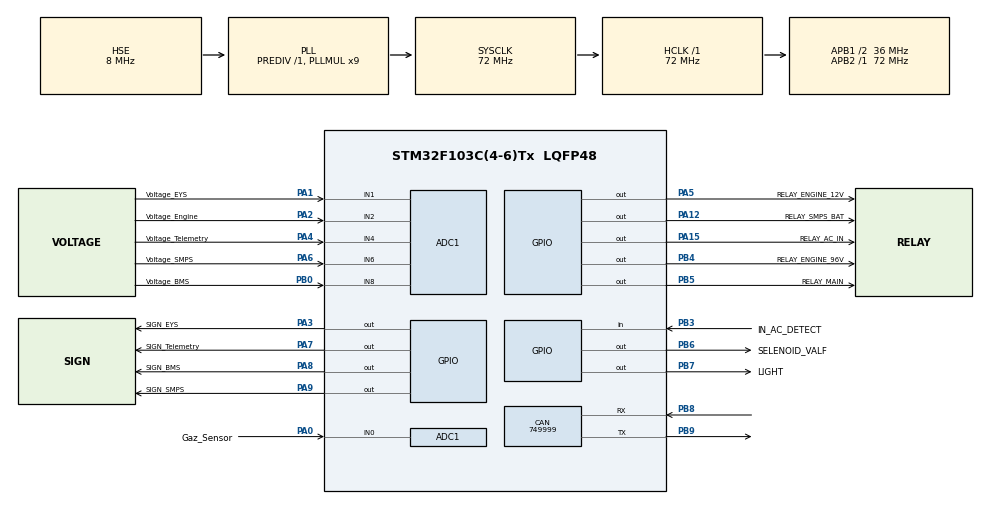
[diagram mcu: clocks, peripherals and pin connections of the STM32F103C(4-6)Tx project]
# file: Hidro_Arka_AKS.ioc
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ADC1.Channel-0\#ChannelRegularConversion=ADC_CHANNEL_0
ADC1.Channel-1\#ChannelRegularConversion=ADC_CHANNEL_1
ADC1.Channel-2\#ChannelRegularConversion=ADC_CHANNEL_2
ADC1.Channel-3\#ChannelRegularConversion=ADC_CHANNEL_4
ADC1.Channel-4\#ChannelRegularConversion=ADC_CHANNEL_6
ADC1.Channel-5\#ChannelRegularConversion=ADC_CHANNEL_8
ADC1.ContinuousConvMode=ENABLE
ADC1.NbrOfConversion=6
ADC1.NbrOfConversionFlag=1
ADC1.Rank-0\#ChannelRegularConversion=1
ADC1.Rank-1\#ChannelRegularConversion=2
ADC1.Rank-2\#ChannelRegularConversion=3
ADC1.Rank-3\#ChannelRegularConversion=4
ADC1.Rank-4\#ChannelRegularConversion=5
ADC1.Rank-5\#ChannelRegularConversion=6
ADC1.SamplingTime-0\#ChannelRegularConversion=ADC_SAMPLETIME_239CYCLES_5
ADC1.SamplingTime-1\#ChannelRegularConversion=ADC_SAMPLETIME_239CYCLES_5
ADC1.SamplingTime-2\#ChannelRegularConversion=ADC_SAMPLETIME_239CYCLES_5
ADC1.SamplingTime-3\#ChannelRegularConversion=ADC_SAMPLETIME_239CYCLES_5
ADC1.SamplingTime-4\#ChannelRegularConversion=ADC_SAMPLETIME_239CYCLES_5
ADC1.SamplingTime-5\#ChannelRegularConversion=ADC_SAMPLETIME_239CYCLES_5
ADC1.master=1
CAN.CalculateBaudRate=749999
CAN.CalculateTimeBit=1333
CAN.CalculateTimeQuantum=444.44444444444446
Dma.ADC1.0.Direction=DMA_PERIPH_TO_MEMORY
Dma.ADC1.0.Instance=DMA1_Channel1
Dma.ADC1.0.MemDataAlignment=DMA_MDATAALIGN_WORD
Dma.ADC1.0.MemInc=DMA_MINC_ENABLE
Dma.ADC1.0.Mode=DMA_CIRCULAR
Dma.ADC1.0.PeriphDataAlignment=DMA_PDATAALIGN_WORD
Dma.ADC1.0.PeriphInc=DMA_PINC_DISABLE
Dma.ADC1.0.Priority=DMA_PRIORITY_VERY_HIGH
Dma.Request0=ADC1
Mcu.Family=STM32F1
Mcu.Name=STM32F103C(4-6)Tx
Mcu.Package=LQFP48
NVIC.ADC1_2_IRQn=true\:0\:0\:false\:false\:true\:true\:true\:true
NVIC.DMA1_Channel1_IRQn=true\:0\:0\:false\:false\:true\:false\:true\:true
NVIC.PriorityGroup=NVIC_PRIORITYGROUP_4
NVIC.USB_LP_CAN1_RX0_IRQn=true\:0\:0\:false\:false\:true\:true\:true\:true
PA0-WKUP.GPIO_Label=Gaz_Sensor
PA0-WKUP.Signal=ADCx_IN0
PA1.GPIO_Label=Voltage_EYS
PA1.Signal=ADCx_IN1
PA12.GPIO_Label=RELAY_SMPS_BAT
PA12.Signal=GPIO_Output
PA13.Mode=Serial_Wire
PA13.Signal=SYS_JTMS-SWDIO
PA14.Mode=Serial_Wire
PA14.Signal=SYS_JTCK-SWCLK
PA15.GPIO_Label=RELAY_AC_IN
PA15.Signal=GPIO_Output
PA2.GPIO_Label=Voltage_Engine
PA2.Signal=ADCx_IN2
PA3.GPIO_Label=SIGN_EYS
PA3.Signal=GPIO_Output
PA4.GPIO_Label=Voltage_Telemetry
PA4.Signal=ADCx_IN4
PA5.GPIO_Label=RELAY_ENGINE_12V
PA5.Signal=GPIO_Output
PA6.GPIO_Label=Voltage_SMPS
PA6.Signal=ADCx_IN6
PA7.GPIO_Label=SIGN_Telemetry
PA7.Signal=GPIO_Output
PA8.GPIO_Label=SIGN_BMS
PA8.Signal=GPIO_Output
PA9.GPIO_Label=SIGN_SMPS
PA9.Signal=GPIO_Output
PB0.GPIO_Label=Voltage_BMS
PB0.Signal=ADCx_IN8
PB3.GPIO_Label=IN_AC_DETECT
PB3.Signal=GPIO_Input
PB4.GPIO_Label=RELAY_ENGINE_96V
PB4.Signal=GPIO_Output
PB5.GPIO_Label=RELAY_MAIN
PB5.Signal=GPIO_Output
PB6.GPIO_Label=SELENOID_VALF
PB6.Signal=GPIO_Output
PB7.GPIO_Label=LIGHT
PB7.Signal=GPIO_Output
PB8.Mode=CAN_Activate
PB8.Signal=CAN_RX
PB9.Mode=CAN_Activate
PB9.Signal=CAN_TX
PD0-OSC_IN.Mode=HSE-External-Oscillator
PD0-OSC_IN.Signal=RCC_OSC_IN
PD1-OSC_OUT.Mode=HSE-External-Oscillator
PD1-OSC_OUT.Signal=RCC_OSC_OUT
ProjectManager.HeapSize=0x200
ProjectManager.StackSize=0x400
ProjectManager.TargetToolchain=STM32CubeIDE
RCC.ADCPresc=RCC_ADCPCLK2_DIV6
RCC.AHBFreq_Value=72000000
RCC.APB1CLKDivider=RCC_HCLK_DIV2
RCC.APB1Freq_Value=36000000
RCC.APB1TimFreq_Value=72000000
RCC.APB2Freq_Value=72000000
RCC.APB2TimFreq_Value=72000000
RCC.HCLKFreq_Value=72000000
RCC.PLLMUL=RCC_PLL_MUL9
RCC.PLLSourceVirtual=RCC_PLLSOURCE_HSE
RCC.SYSCLKFreq_VALUE=72000000
RCC.SYSCLKSource=RCC_SYSCLKSOURCE_PLLCLK
RCC.USBFreq_Value=72000000
SH.ADCx_IN0.0=ADC1_IN0,IN0
SH.ADCx_IN1.0=ADC1_IN1,IN1
SH.ADCx_IN2.0=ADC1_IN2,IN2
SH.ADCx_IN4.0=ADC1_IN4,IN4
SH.ADCx_IN6.0=ADC1_IN6,IN6
SH.ADCx_IN8.0=ADC1_IN8,IN8
board=custom

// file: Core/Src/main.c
/* USER CODE BEGIN Header */
/**
  ******************************************************************************
  * @file           : main.c
  * @brief          : Main program body
  ******************************************************************************
  * @attention
  *
  * Copyright (c) 2023 STMicroelectronics.
  * All rights reserved.
  *
  * This software is licensed under terms that can be found in the LICENSE file
  * in the root directory of this software component.
  * If no LICENSE file comes with this software, it is provided AS-IS.
  *
  ******************************************************************************
  */
/* USER CODE END Header */
#include "main.h"

/* USER CODE BEGIN Includes */
#include "stdbool.h"
/* USER CODE END Includes */

/* USER CODE BEGIN PD */
uint32_t adcbuffer[6];

uint32_t Eys_Voltage;
uint32_t Aks_Voltage;
uint32_t Smps_Voltage;
uint32_t Bms_Voltage;
uint32_t Engine_Driver_Voltage;
uint32_t Gaz_Sensor;

/* USER CODE END PD */

ADC_HandleTypeDef hadc1;
DMA_HandleTypeDef hdma_adc1;

CAN_HandleTypeDef hcan;

void SystemClock_Config(void);
static void MX_GPIO_Init(void);
static void MX_DMA_Init(void);
static void MX_CAN_Init(void);
static void MX_ADC1_Init(void);
/* USER CODE BEGIN PFP */

void HAL_ADC_ConvCpltCallback(ADC_HandleTypeDef* hadc)
{
   if(hadc->Instance == ADC1)
   {
	   Eys_Voltage = adcbuffer[1];
	   Aks_Voltage = adcbuffer[3];
	   Smps_Voltage = adcbuffer[4];
	   Bms_Voltage = adcbuffer[5];
	   Engine_Driver_Voltage = adcbuffer[2];
	   Gaz_Sensor = adcbuffer[0];
   }

}

/* USER CODE END PFP */

/* USER CODE BEGIN 0 */

CAN_TxHeaderTypeDef TxTransmitter;   //can adı
uint8_t voltage_result[5];   //can içerisindeki data boyutu
uint32_t TxMailBox;       //can kutusu

uint32_t adc_result[10];   //adc değerleri için kutu,
									//sensor değerleri içinde kutu açılacak

CAN_RxHeaderTypeDef Receiver;
uint8_t Receiver_data[8];
uint32_t sender_info[5];

/* USER CODE END 0 */

int main(void)
{

  /* MCU Configuration--------------------------------------------------------*/

  /* Reset of all peripherals, Initializes the Flash interface and the Systick. */
  HAL_Init();

  /* Configure the system clock */
  SystemClock_Config();

  /* Initialize all configured peripherals */
  MX_GPIO_Init();
  MX_DMA_Init();
  MX_CAN_Init();
  MX_ADC1_Init();
  /* USER CODE BEGIN 2 */
  HAL_ADC_Start_DMA(&hadc1,adcbuffer,6);
  HAL_CAN_Start(&hcan);

  //araç açılışta sürüş modunda olacak.
  HAL_GPIO_WritePin(RELAY_MAIN_GPIO_Port, RELAY_MAIN_Pin, GPIO_PIN_RESET);

  /*
   Sürüş moduna geçmek için yapılması gerekenler:
   BMS,Motor Sürücü,Telemetri açılacak. SMPS kapanacak.
   Ana kontaktör kontrolünde P channel kullanılır. Lojik 0 verilirse, mosfet akım geçirir. Tesisatta kontaktöre 12V gider ve, kontaktör akım geçirir.
   SSR röle ve SMPS Batarya kontaktörünü kapatmak için Lojik 1 verilir.
   Motor sürücü kontaktöründen akım geçmesi için Lojik 0 verilmeli.
  */
  HAL_GPIO_WritePin(SIGN_BMS_GPIO_Port,SIGN_BMS_Pin, GPIO_PIN_SET);//Lojik 1 kapanır, Lojik 0 açılır
  HAL_GPIO_WritePin(RELAY_ENGINE_12V_GPIO_Port,RELAY_ENGINE_12V_Pin, GPIO_PIN_SET);//Lojik 1 kapanır, Lojik 0 açılır
  HAL_GPIO_WritePin(SIGN_Telemetry_GPIO_Port,SIGN_Telemetry_Pin, GPIO_PIN_SET);//Lojik 1 kapanır, Lojik 0 açılır---
  HAL_GPIO_WritePin(SIGN_EYS_GPIO_Port,SIGN_EYS_Pin,GPIO_PIN_SET);
  HAL_GPIO_WritePin(SIGN_SMPS_GPIO_Port,SIGN_SMPS_Pin, GPIO_PIN_SET);//Lojik 1 açılır, Lojik 0 kapanır
  HAL_GPIO_WritePin(RELAY_MAIN_GPIO_Port,RELAY_MAIN_Pin, GPIO_PIN_RESET);//Lojik 1 kapanır, Lojik 0 açılır
  HAL_GPIO_WritePin(RELAY_AC_IN_GPIO_Port,RELAY_AC_IN_Pin, GPIO_PIN_RESET);//Lojik 1 kapanır, Lojik 0 açılır
  HAL_GPIO_WritePin(RELAY_SMPS_BAT_GPIO_Port,RELAY_SMPS_BAT_Pin, GPIO_PIN_RESET);//Lojik 1 kapanır, Lojik 0 açılır
  HAL_Delay(1000);
  HAL_GPIO_WritePin(RELAY_ENGINE_96V_GPIO_Port,RELAY_ENGINE_96V_Pin, GPIO_PIN_SET);//Lojik 1 kapanır, Lojik 0 açılır

  TxTransmitter.StdId = 0x023;
  TxTransmitter.DLC = 8;
  TxTransmitter.IDE = CAN_ID_STD;

  /* USER CODE END 2 */
  /* Infinite loop */
  /* USER CODE BEGIN WHILE */
  while (1)
  {

	  /*
	   Eys_Voltage = adcbuffer[1];
	   Aks_Voltage = adcbuffer[3];
	   Smps_Voltage = adcbuffer[4];
	   Bms_Voltage = adcbuffer[5];
	   Engine_Driver_Voltage = adcbuffer[2];
	   Gaz_Sensor = adcbuffer[0];

	   */
    /* USER CODE END WHILE */
	  HAL_ADC_ConvCpltCallback(&hadc1);

	  /*
	  if(HAL_GPIO_ReadPin(IN_AC_DETECT_GPIO_Port,IN_AC_DETECT_Pin) == GPIO_PIN_RESET){
		  //BURASI ARAÇ sürüş MODU DURUMU

		  HAL_GPIO_WritePin(RELAY_SMPS_BAT_GPIO_Port,RELAY_SMPS_BAT_Pin, GPIO_PIN_RESET);//Lojik 1 kapanır, Lojik 0 açılır
		  HAL_Delay(20);
		  HAL_GPIO_WritePin(RELAY_AC_IN_GPIO_Port,RELAY_AC_IN_Pin, GPIO_PIN_RESET);//Lojik 1 kapanır, Lojik 0 açılır
		  HAL_Delay(1000);
		  HAL_GPIO_WritePin(SIGN_SMPS_GPIO_Port,SIGN_SMPS_Pin, GPIO_PIN_SET);//Lojik 1 açılır, Lojik 0 kapanır
		  HAL_Delay(1000);
		  HAL_GPIO_WritePin(RELAY_ENGINE_12V_GPIO_Port,RELAY_ENGINE_12V_Pin, GPIO_PIN_SET);//Lojik 1 kapanır, Lojik 0 açılır
		  HAL_Delay(1000);
		  HAL_GPIO_WritePin(RELAY_ENGINE_96V_GPIO_Port,RELAY_ENGINE_96V_Pin, GPIO_PIN_SET);//Lojik 1 akım geçirmez, Lojik 0 akım geçirir
  		  HAL_Delay(20);
		  HAL_GPIO_WritePin(RELAY_MAIN_GPIO_Port, RELAY_MAIN_Pin, GPIO_PIN_RESET);
	  	  }

	  else{
		  //burası şarj modu

		  HAL_GPIO_WritePin(RELAY_ENGINE_12V_GPIO_Port,RELAY_ENGINE_12V_Pin, GPIO_PIN_RESET);//Lojik 1 kapanır, Lojik 0 açılır
		  HAL_GPIO_WritePin(RELAY_ENGINE_96V_GPIO_Port,RELAY_ENGINE_96V_Pin, GPIO_PIN_RESET);//Lojik 1 akım geçirmez, Lojik 0 akım geçirir
		  HAL_Delay(1000);
		  HAL_GPIO_WritePin(RELAY_SMPS_BAT_GPIO_Port,RELAY_SMPS_BAT_Pin, GPIO_PIN_SET);//Lojik 1 kapanır, Lojik 0 açılır
		  HAL_Delay(1000);
		  HAL_GPIO_WritePin(RELAY_AC_IN_GPIO_Port,RELAY_AC_IN_Pin, GPIO_PIN_SET);//Lojik 1 kapanır, Lojik 0 açılır
		  HAL_Delay(1000);
		  HAL_GPIO_WritePin(SIGN_SMPS_GPIO_Port,SIGN_SMPS_Pin, GPIO_PIN_RESET);//Lojik 1 açılır, Lojik 0 kapanır

	  }

	  HAL_GPIO_WritePin(RELAY_MAIN_GPIO_Port, RELAY_MAIN_Pin, GPIO_PIN_RESET);
	  */

	  static bool prev_ac_status = false;
	  	  const bool ac_status = HAL_GPIO_ReadPin(IN_AC_DETECT_GPIO_Port,IN_AC_DETECT_Pin) == GPIO_PIN_SET;

	  	  if (ac_status != prev_ac_status) {  //eğer önceki durum ve şimdiki durum farklı olursa işleme girer
	  		                                  //işlem seçeneği ise mevcut ac değerinin ne olduğuna göre yapılır
	  		  prev_ac_status = ac_status;
	  		  if(ac_status){
				  //şarj modu
	  			  HAL_GPIO_WritePin(RELAY_ENGINE_96V_GPIO_Port,RELAY_ENGINE_96V_Pin, GPIO_PIN_RESET);//Lojik 1 akım geçirmez, Lojik 0 akım geçirir
	  			  HAL_Delay(500);
	  			  HAL_GPIO_WritePin(SIGN_EYS_GPIO_Port,SIGN_EYS_Pin,GPIO_PIN_RESET);
	  			  HAL_Delay(500);
	  			  HAL_GPIO_WritePin(RELAY_ENGINE_12V_GPIO_Port,RELAY_ENGINE_12V_Pin, GPIO_PIN_RESET);//Lojik 1 kapanır, Lojik 0 açılır
		  	  	  HAL_Delay(1000);
		  	  	  HAL_GPIO_WritePin(RELAY_SMPS_BAT_GPIO_Port,RELAY_SMPS_BAT_Pin, GPIO_PIN_SET);//Lojik 1 kapanır, Lojik 0 açılır
		  	  	  HAL_Delay(1000);
		  	  	  HAL_GPIO_WritePin(RELAY_AC_IN_GPIO_Port,RELAY_AC_IN_Pin, GPIO_PIN_SET);//Lojik 1 kapanır, Lojik 0 açılır
		  	  	  HAL_Delay(1000);
		  	  	  HAL_GPIO_WritePin(SIGN_SMPS_GPIO_Port,SIGN_SMPS_Pin, GPIO_PIN_RESET);//Lojik 1 açılır, Lojik 0 kapanır
	  			  }

	  		  else{
	  		  	  //sürüş modu
	  			  HAL_GPIO_WritePin(RELAY_SMPS_BAT_GPIO_Port,RELAY_SMPS_BAT_Pin, GPIO_PIN_RESET);//Lojik 1 kapanır, Lojik 0 açılır
		  	  	  HAL_Delay(20);
		  	  	  HAL_GPIO_WritePin(RELAY_AC_IN_GPIO_Port,RELAY_AC_IN_Pin, GPIO_PIN_RESET);//Lojik 1 kapanır, Lojik 0 açılır
		  	  	  HAL_Delay(1000);
		  	  	  HAL_GPIO_WritePin(SIGN_SMPS_GPIO_Port,SIGN_SMPS_Pin, GPIO_PIN_SET);//Lojik 1 açılır, Lojik 0 kapanır
		  	  	  HAL_Delay(1000);
		  	  	  HAL_GPIO_WritePin(RELAY_ENGINE_12V_GPIO_Port,RELAY_ENGINE_12V_Pin, GPIO_PIN_SET);//Lojik 1 kapanır, Lojik 0 açılır
		  	  	  HAL_Delay(1000);
		  	  	  HAL_GPIO_WritePin(SIGN_EYS_GPIO_Port,SIGN_EYS_Pin,GPIO_PIN_SET);
		  	  	  HAL_Delay(1000);
		  	  	  HAL_GPIO_WritePin(RELAY_ENGINE_96V_GPIO_Port,RELAY_ENGINE_96V_Pin, GPIO_PIN_SET);//Lojik 1 akım geçirmez, Lojik 0 akım geçirir
  		  	  	  HAL_Delay(20);
		  	  	  HAL_GPIO_WritePin(RELAY_MAIN_GPIO_Port, RELAY_MAIN_Pin, GPIO_PIN_RESET);

	  		  }
	  	  }

	  voltage_result[0] = Eys_Voltage;
	  voltage_result[1] =Aks_Voltage;
	  voltage_result[2] =Smps_Voltage;
	  voltage_result[3] =Bms_Voltage;
	  voltage_result[4] =Engine_Driver_Voltage;

	  voltage_result[5] = 31;
	  voltage_result[6] = 52;
	  voltage_result[7] = 69;

	  HAL_Delay(50);

	  HAL_CAN_AddTxMessage(&hcan, &TxTransmitter, voltage_result , &TxMailBox);

	  HAL_CAN_GetRxMessage(&hcan, CAN_RX_FIFO0, &Receiver, Receiver_data);

	  sender_info[0] = Receiver.StdId;
	  sender_info[1] = Receiver.ExtId;
	  sender_info[2] = Receiver.IDE;
	  sender_info[3] = Receiver.RTR;
      sender_info[4] = Receiver.DLC;

      /*
      if(Receiver_data[0] == 54)
      HAL_GPIO_WritePin(RELAY_MAIN_GPIO_Port, RELAY_MAIN_Pin, SET);
      else
          HAL_GPIO_WritePin(RELAY_MAIN_GPIO_Port, RELAY_MAIN_Pin, RESET);
	  */

      /*
      if(Receiver_data[1] > 55)
      HAL_GPIO_WritePin(SELENOID_VALF_GPIO_Port, SELENOID_VALF_Pin, SET);
      else
          HAL_GPIO_WritePin(SELENOID_VALF_GPIO_Port, SELENOID_VALF_Pin, RESET);

      if(Receiver_data[2] == 65)
    		 HAL_GPIO_WritePin(LIGHT_GPIO_Port, LIGHT_Pin, SET);
      else
		 HAL_GPIO_WritePin(LIGHT_GPIO_Port, LIGHT_Pin, RESET);

	*/

/*
	  if(Eys_Voltage <10)          //eğer voltaj yoksa led yaktık
		  HAL_GPIO_WritePin(LIGHT_GPIO_Port, LIGHT_Pin, GPIO_PIN_SET);
	  if(Aks_Voltage <10)
	  		  HAL_GPIO_WritePin(SELENOID_VALF_GPIO_Port, SELENOID_VALF_Pin, GPIO_PIN_SET);

	  if(Smps_Voltage >3500){
	  		  HAL_GPIO_WritePin(RELAY_MAIN_GPIO_Port, RELAY_MAIN_Pin, GPIO_PIN_SET);
	  		HAL_Delay(1000);
	  }
	  */
	  //read sürücü 12v

  }
}

void SystemClock_Config(void)
{
  RCC_OscInitTypeDef RCC_OscInitStruct = {0};
  RCC_ClkInitTypeDef RCC_ClkInitStruct = {0};
  RCC_PeriphCLKInitTypeDef PeriphClkInit = {0};

  /** Initializes the RCC Oscillators according to the specified parameters
  * in the RCC_OscInitTypeDef structure.
  */
  RCC_OscInitStruct.OscillatorType = RCC_OSCILLATORTYPE_HSE;
  RCC_OscInitStruct.HSEState = RCC_HSE_ON;
  RCC_OscInitStruct.HSEPredivValue = RCC_HSE_PREDIV_DIV1;
  RCC_OscInitStruct.HSIState = RCC_HSI_ON;
  RCC_OscInitStruct.PLL.PLLState = RCC_PLL_ON;
  RCC_OscInitStruct.PLL.PLLSource = RCC_PLLSOURCE_HSE;
  RCC_OscInitStruct.PLL.PLLMUL = RCC_PLL_MUL9;
  if (HAL_RCC_OscConfig(&RCC_OscInitStruct) != HAL_OK)
  {
    Error_Handler();
  }

  /** Initializes the CPU, AHB and APB buses clocks
  */
  RCC_ClkInitStruct.ClockType = RCC_CLOCKTYPE_HCLK|RCC_CLOCKTYPE_SYSCLK
                              |RCC_CLOCKTYPE_PCLK1|RCC_CLOCKTYPE_PCLK2;
  RCC_ClkInitStruct.SYSCLKSource = RCC_SYSCLKSOURCE_PLLCLK;
  RCC_ClkInitStruct.AHBCLKDivider = RCC_SYSCLK_DIV1;
  RCC_ClkInitStruct.APB1CLKDivider = RCC_HCLK_DIV2;
  RCC_ClkInitStruct.APB2CLKDivider = RCC_HCLK_DIV1;

  if (HAL_RCC_ClockConfig(&RCC_ClkInitStruct, FLASH_LATENCY_2) != HAL_OK)
  {
    Error_Handler();
  }
  PeriphClkInit.PeriphClockSelection = RCC_PERIPHCLK_ADC;
  PeriphClkInit.AdcClockSelection = RCC_ADCPCLK2_DIV6;
  if (HAL_RCCEx_PeriphCLKConfig(&PeriphClkInit) != HAL_OK)
  {
    Error_Handler();
  }
}

static void MX_ADC1_Init(void)
{

  ADC_ChannelConfTypeDef sConfig = {0};

  /** Common config
  */
  hadc1.Instance = ADC1;
  hadc1.Init.ScanConvMode = ADC_SCAN_ENABLE;
  hadc1.Init.ContinuousConvMode = ENABLE;
  hadc1.Init.DiscontinuousConvMode = DISABLE;
  hadc1.Init.ExternalTrigConv = ADC_SOFTWARE_START;
  hadc1.Init.DataAlign = ADC_DATAALIGN_RIGHT;
  hadc1.Init.NbrOfConversion = 6;
  if (HAL_ADC_Init(&hadc1) != HAL_OK)
  {
    Error_Handler();
  }

  /** Configure Regular Channel
  */
  sConfig.Channel = ADC_CHANNEL_0;
  sConfig.Rank = ADC_REGULAR_RANK_1;
  sConfig.SamplingTime = ADC_SAMPLETIME_239CYCLES_5;
  if (HAL_ADC_ConfigChannel(&hadc1, &sConfig) != HAL_OK)
  {
    Error_Handler();
  }

  /** Configure Regular Channel
  */
  sConfig.Channel = ADC_CHANNEL_1;
  sConfig.Rank = ADC_REGULAR_RANK_2;
  if (HAL_ADC_ConfigChannel(&hadc1, &sConfig) != HAL_OK)
  {
    Error_Handler();
  }

  /** Configure Regular Channel
  */
  sConfig.Channel = ADC_CHANNEL_2;
  sConfig.Rank = ADC_REGULAR_RANK_3;
  if (HAL_ADC_ConfigChannel(&hadc1, &sConfig) != HAL_OK)
  {
    Error_Handler();
  }

  /** Configure Regular Channel
  */
  sConfig.Channel = ADC_CHANNEL_4;
  sConfig.Rank = ADC_REGULAR_RANK_4;
  if (HAL_ADC_ConfigChannel(&hadc1, &sConfig) != HAL_OK)
  {
    Error_Handler();
  }

  /** Configure Regular Channel
  */
  sConfig.Channel = ADC_CHANNEL_6;
  sConfig.Rank = ADC_REGULAR_RANK_5;
  if (HAL_ADC_ConfigChannel(&hadc1, &sConfig) != HAL_OK)
  {
    Error_Handler();
  }

  /** Configure Regular Channel
  */
  sConfig.Channel = ADC_CHANNEL_8;
  sConfig.Rank = ADC_REGULAR_RANK_6;
  if (HAL_ADC_ConfigChannel(&hadc1, &sConfig) != HAL_OK)
  {
    Error_Handler();
  }

}

static void MX_CAN_Init(void)
{

  hcan.Instance = CAN1;
  hcan.Init.Prescaler = 9;
  hcan.Init.Mode = CAN_MODE_NORMAL;
  hcan.Init.SyncJumpWidth = CAN_SJW_1TQ;
  hcan.Init.TimeSeg1 = CAN_BS1_4TQ;
  hcan.Init.TimeSeg2 = CAN_BS2_3TQ;
  hcan.Init.TimeTriggeredMode = DISABLE;
  hcan.Init.AutoBusOff = DISABLE;
  hcan.Init.AutoWakeUp = DISABLE;
  hcan.Init.AutoRetransmission = DISABLE;
  hcan.Init.ReceiveFifoLocked = DISABLE;
  hcan.Init.TransmitFifoPriority = DISABLE;
  if (HAL_CAN_Init(&hcan) != HAL_OK)
  {
    Error_Handler();
  }
  /* USER CODE BEGIN CAN_Init 2 */

  CAN_FilterTypeDef can_filter_type;

  can_filter_type.FilterBank = 13;
  can_filter_type.FilterIdHigh = 0;
		  can_filter_type.FilterIdLow = 0;
		  can_filter_type.FilterMaskIdHigh = 0;
		  can_filter_type.FilterMaskIdLow = 0;
		  can_filter_type.FilterFIFOAssignment = CAN_RX_FIFO0;
		  can_filter_type.FilterBank = 0;
		  can_filter_type.FilterMode = CAN_FILTERMODE_IDMASK;
		  can_filter_type.FilterScale = CAN_FILTERSCALE_32BIT;
		  can_filter_type.FilterActivation = ENABLE;
		  can_filter_type.SlaveStartFilterBank = 14;

		  HAL_CAN_ConfigFilter(&hcan, &can_filter_type);

  /* USER CODE END CAN_Init 2 */

}

static void MX_DMA_Init(void)
{

  /* DMA controller clock enable */
  __HAL_RCC_DMA1_CLK_ENABLE();

  /* DMA interrupt init */
  /* DMA1_Channel1_IRQn interrupt configuration */
  HAL_NVIC_SetPriority(DMA1_Channel1_IRQn, 0, 0);
  HAL_NVIC_EnableIRQ(DMA1_Channel1_IRQn);

}

static void MX_GPIO_Init(void)
{
  GPIO_InitTypeDef GPIO_InitStruct = {0};

  /* GPIO Ports Clock Enable */
  __HAL_RCC_GPIOD_CLK_ENABLE();
  __HAL_RCC_GPIOA_CLK_ENABLE();
  __HAL_RCC_GPIOB_CLK_ENABLE();

  /*Configure GPIO pin Output Level */
  HAL_GPIO_WritePin(GPIOA, SIGN_EYS_Pin|RELAY_ENGINE_12V_Pin|SIGN_Telemetry_Pin|SIGN_BMS_Pin
                          |SIGN_SMPS_Pin|RELAY_SMPS_BAT_Pin|RELAY_AC_IN_Pin, GPIO_PIN_RESET);

  /*Configure GPIO pin Output Level */
  HAL_GPIO_WritePin(GPIOB, RELAY_ENGINE_96V_Pin|RELAY_MAIN_Pin|SELENOID_VALF_Pin|LIGHT_Pin, GPIO_PIN_RESET);

  /*Configure GPIO pins : SIGN_EYS_Pin RELAY_ENGINE_12V_Pin SIGN_Telemetry_Pin SIGN_BMS_Pin
                           SIGN_SMPS_Pin RELAY_SMPS_BAT_Pin RELAY_AC_IN_Pin */
  GPIO_InitStruct.Pin = SIGN_EYS_Pin|RELAY_ENGINE_12V_Pin|SIGN_Telemetry_Pin|SIGN_BMS_Pin
                          |SIGN_SMPS_Pin|RELAY_SMPS_BAT_Pin|RELAY_AC_IN_Pin;
  GPIO_InitStruct.Mode = GPIO_MODE_OUTPUT_PP;
  GPIO_InitStruct.Pull = GPIO_NOPULL;
  GPIO_InitStruct.Speed = GPIO_SPEED_FREQ_LOW;
  HAL_GPIO_Init(GPIOA, &GPIO_InitStruct);

  /*Configure GPIO pin : IN_AC_DETECT_Pin */
  GPIO_InitStruct.Pin = IN_AC_DETECT_Pin;
  GPIO_InitStruct.Mode = GPIO_MODE_INPUT;
  GPIO_InitStruct.Pull = GPIO_NOPULL;
  HAL_GPIO_Init(IN_AC_DETECT_GPIO_Port, &GPIO_InitStruct);

  /*Configure GPIO pins : RELAY_ENGINE_96V_Pin RELAY_MAIN_Pin SELENOID_VALF_Pin LIGHT_Pin */
  GPIO_InitStruct.Pin = RELAY_ENGINE_96V_Pin|RELAY_MAIN_Pin|SELENOID_VALF_Pin|LIGHT_Pin;
  GPIO_InitStruct.Mode = GPIO_MODE_OUTPUT_PP;
  GPIO_InitStruct.Pull = GPIO_NOPULL;
  GPIO_InitStruct.Speed = GPIO_SPEED_FREQ_LOW;
  HAL_GPIO_Init(GPIOB, &GPIO_InitStruct);

}

void Error_Handler(void)
{
  __disable_irq();
  while (1)
  {
  }
}
